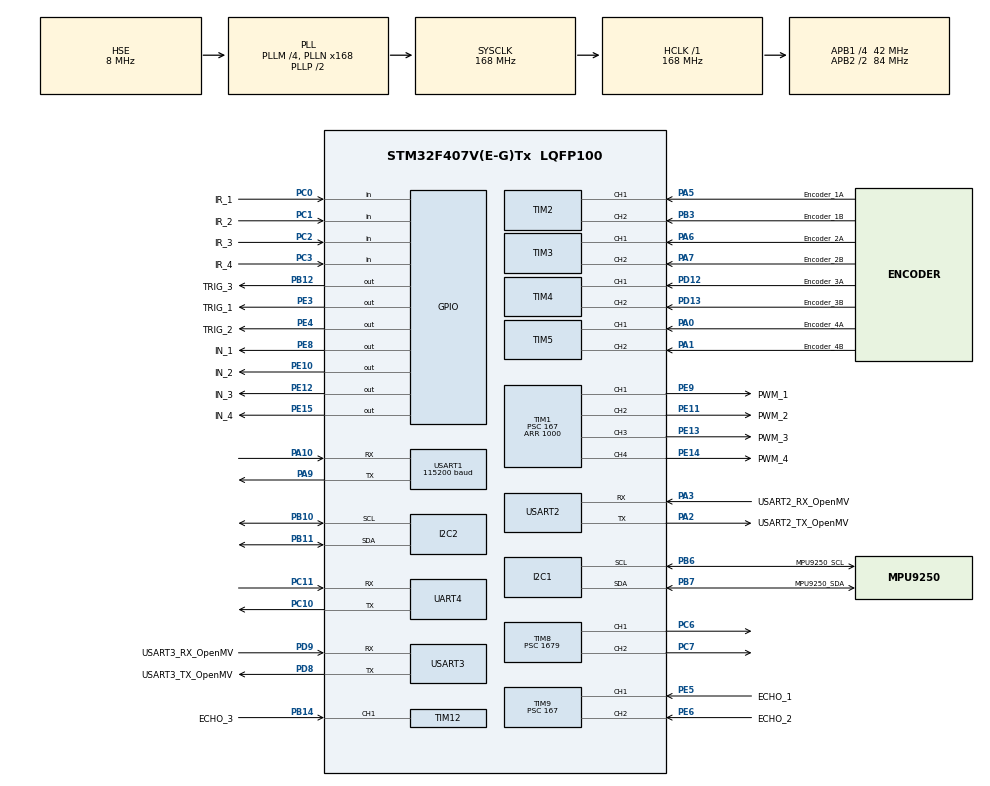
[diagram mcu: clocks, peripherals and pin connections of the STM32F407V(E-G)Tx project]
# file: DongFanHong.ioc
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I2C1.I2C_Mode=I2C_Fast
Mcu.Family=STM32F4
Mcu.Name=STM32F407V(E-G)Tx
Mcu.Package=LQFP100
NVIC.PriorityGroup=NVIC_PRIORITYGROUP_4
NVIC.TIM1_BRK_TIM9_IRQn=true\:0\:0\:false\:false\:true\:true\:true
NVIC.TIM8_BRK_TIM12_IRQn=true\:0\:0\:false\:false\:true\:true\:true
NVIC.UART4_IRQn=true\:0\:0\:false\:false\:true\:true\:true
NVIC.USART1_IRQn=true\:0\:0\:false\:false\:true\:true\:true
NVIC.USART2_IRQn=true\:0\:0\:false\:false\:true\:true\:true
NVIC.USART3_IRQn=true\:0\:0\:false\:false\:true\:true\:true
PA0-WKUP.GPIO_Label=Encoder_4A
PA0-WKUP.Signal=S_TIM5_CH1
PA1.GPIO_Label=Encoder_4B
PA1.Signal=S_TIM5_CH2
PA10.Mode=Asynchronous
PA10.Signal=USART1_RX
PA13.Mode=Serial_Wire
PA13.Signal=SYS_JTMS-SWDIO
PA14.Mode=Serial_Wire
PA14.Signal=SYS_JTCK-SWCLK
PA2.GPIO_Label=USART2_TX_OpenMV
PA2.Mode=Asynchronous
PA2.Signal=USART2_TX
PA3.GPIO_Label=USART2_RX_OpenMV
PA3.Mode=Asynchronous
PA3.Signal=USART2_RX
PA5.GPIO_Label=Encoder_1A
PA5.Signal=S_TIM2_CH1_ETR
PA6.GPIO_Label=Encoder_2A
PA6.Signal=S_TIM3_CH1
PA7.GPIO_Label=Encoder_2B
PA7.Signal=S_TIM3_CH2
PA9.Mode=Asynchronous
PA9.Signal=USART1_TX
PB10.Mode=I2C
PB10.Signal=I2C2_SCL
PB11.Mode=I2C
PB11.Signal=I2C2_SDA
PB12.GPIO_Label=TRIG_3
PB12.Signal=GPIO_Output
PB14.GPIO_Label=ECHO_3
PB14.GPIO_PuPd=GPIO_NOPULL
PB14.Signal=S_TIM12_CH1
PB3.GPIO_Label=Encoder_1B
PB3.Signal=S_TIM2_CH2
PB6.GPIO_Label=MPU9250_SCL
PB6.Mode=I2C
PB6.Signal=I2C1_SCL
PB7.GPIO_Label=MPU9250_SDA
PB7.Mode=I2C
PB7.Signal=I2C1_SDA
PC0.GPIO_Label=IR_1
PC0.GPIO_PuPd=GPIO_PULLDOWN
PC0.Signal=GPIO_Input
PC1.GPIO_Label=IR_2
PC1.GPIO_PuPd=GPIO_PULLDOWN
PC1.Signal=GPIO_Input
PC10.Mode=Asynchronous
PC10.Signal=UART4_TX
PC11.Mode=Asynchronous
PC11.Signal=UART4_RX
PC14-OSC32_IN.Mode=LSE-External-Oscillator
PC14-OSC32_IN.Signal=RCC_OSC32_IN
PC15-OSC32_OUT.Mode=LSE-External-Oscillator
PC15-OSC32_OUT.Signal=RCC_OSC32_OUT
PC2.GPIO_Label=IR_3
PC2.GPIO_PuPd=GPIO_PULLDOWN
PC2.Signal=GPIO_Input
PC3.GPIO_Label=IR_4
PC3.GPIO_PuPd=GPIO_PULLDOWN
PC3.Signal=GPIO_Input
PC6.Signal=S_TIM8_CH1
PC7.Signal=S_TIM8_CH2
PD12.GPIO_Label=Encoder_3A
PD12.Signal=S_TIM4_CH1
PD13.GPIO_Label=Encoder_3B
PD13.Signal=S_TIM4_CH2
PD8.GPIO_Label=USART3_TX_OpenMV
PD8.Mode=Asynchronous
PD8.Signal=USART3_TX
PD9.GPIO_Label=USART3_RX_OpenMV
PD9.Mode=Asynchronous
PD9.Signal=USART3_RX
PE10.GPIO_Label=IN_2
PE10.Signal=GPIO_Output
PE11.GPIO_Label=PWM_2
PE11.Signal=S_TIM1_CH2
PE12.GPIO_Label=IN_3
PE12.Signal=GPIO_Output
PE13.GPIO_Label=PWM_3
PE13.Signal=S_TIM1_CH3
PE14.GPIO_Label=PWM_4
PE14.Signal=S_TIM1_CH4
PE15.GPIO_Label=IN_4
PE15.Signal=GPIO_Output
PE3.GPIO_Label=TRIG_1
PE3.Signal=GPIO_Output
PE4.GPIO_Label=TRIG_2
PE4.Signal=GPIO_Output
PE5.GPIO_Label=ECHO_1
PE5.Signal=S_TIM9_CH1
PE6.GPIO_Label=ECHO_2
PE6.Signal=S_TIM9_CH2
PE8.GPIO_Label=IN_1
PE8.Signal=GPIO_Output
PE9.GPIO_Label=PWM_1
PE9.Signal=S_TIM1_CH1
PH0-OSC_IN.Mode=HSE-External-Oscillator
PH0-OSC_IN.Signal=RCC_OSC_IN
PH1-OSC_OUT.Mode=HSE-External-Oscillator
PH1-OSC_OUT.Signal=RCC_OSC_OUT
ProjectManager.HeapSize=0x200
ProjectManager.StackSize=0x400
ProjectManager.TargetToolchain=MDK-ARM V5.32
RCC.48MHZClocksFreq_Value=84000000
RCC.AHBFreq_Value=168000000
RCC.APB1CLKDivider=RCC_HCLK_DIV4
RCC.APB1Freq_Value=42000000
RCC.APB1TimFreq_Value=84000000
RCC.APB2CLKDivider=RCC_HCLK_DIV2
RCC.APB2Freq_Value=84000000
RCC.APB2TimFreq_Value=168000000
RCC.CortexFreq_Value=168000000
RCC.HCLKFreq_Value=168000000
RCC.HSE_VALUE=8000000
RCC.HSI_VALUE=16000000
RCC.PLLM=4
RCC.PLLN=168
RCC.PLLSourceVirtual=RCC_PLLSOURCE_HSE
RCC.SYSCLKFreq_VALUE=168000000
RCC.SYSCLKSource=RCC_SYSCLKSOURCE_PLLCLK
RCC.VCOOutputFreq_Value=336000000
SH.S_TIM12_CH1.0=TIM12_CH1,Input_Capture1_from_TI1
SH.S_TIM1_CH1.0=TIM1_CH1,PWM Generation1 CH1
SH.S_TIM1_CH2.0=TIM1_CH2,PWM Generation2 CH2
SH.S_TIM1_CH3.0=TIM1_CH3,PWM Generation3 CH3
SH.S_TIM1_CH4.0=TIM1_CH4,PWM Generation4 CH4
SH.S_TIM2_CH1_ETR.0=TIM2_CH1,Encoder_Interface
SH.S_TIM2_CH2.0=TIM2_CH2,Encoder_Interface
SH.S_TIM3_CH1.0=TIM3_CH1,Encoder_Interface
SH.S_TIM3_CH2.0=TIM3_CH2,Encoder_Interface
SH.S_TIM4_CH1.0=TIM4_CH1,Encoder_Interface
SH.S_TIM4_CH2.0=TIM4_CH2,Encoder_Interface
SH.S_TIM5_CH1.0=TIM5_CH1,Encoder_Interface
SH.S_TIM5_CH2.0=TIM5_CH2,Encoder_Interface
SH.S_TIM8_CH1.0=TIM8_CH1,PWM Generation1 CH1
SH.S_TIM8_CH2.0=TIM8_CH2,PWM Generation2 CH2
SH.S_TIM9_CH1.0=TIM9_CH1,Input_Capture1_from_TI1
SH.S_TIM9_CH2.0=TIM9_CH2,Input_Capture2_from_TI2
TIM1.Channel-PWM\ Generation1\ CH1=TIM_CHANNEL_1
TIM1.Channel-PWM\ Generation2\ CH2=TIM_CHANNEL_2
TIM1.Channel-PWM\ Generation3\ CH3=TIM_CHANNEL_3
TIM1.Channel-PWM\ Generation4\ CH4=TIM_CHANNEL_4
TIM1.Period=1000
TIM1.Prescaler=167
TIM12.Channel-Input_Capture1_from_TI1=TIM_CHANNEL_1
TIM12.Prescaler=167
TIM2.EncoderMode=TIM_ENCODERMODE_TI12
TIM3.EncoderMode=TIM_ENCODERMODE_TI12
TIM4.EncoderMode=TIM_ENCODERMODE_TI12
TIM5.EncoderMode=TIM_ENCODERMODE_TI12
TIM8.Channel-PWM\ Generation1\ CH1=TIM_CHANNEL_1
TIM8.Channel-PWM\ Generation2\ CH2=TIM_CHANNEL_2
TIM8.Period=1999
TIM8.Prescaler=1679
TIM9.Channel-Input_Capture1_from_TI1=TIM_CHANNEL_1
TIM9.Channel-Input_Capture2_from_TI2=TIM_CHANNEL_2
TIM9.Prescaler=167
UART4.VirtualMode=Asynchronous
USART1.BaudRate=115200
USART1.VirtualMode=VM_ASYNC
USART2.VirtualMode=VM_ASYNC
USART3.VirtualMode=VM_ASYNC
VP_TIM12_VS_ClockSourceINT.Mode=Internal
VP_TIM1_VS_ClockSourceINT.Mode=Internal
VP_TIM8_VS_ClockSourceINT.Mode=Internal
VP_TIM9_VS_ClockSourceINT.Mode=Internal
board=custom

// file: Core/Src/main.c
/* USER CODE BEGIN Header */
/**
  ******************************************************************************
  * @file           : main.c
  * @brief          : Main program body
  ******************************************************************************
  * @attention
  *
  * <h2><center>&copy; Copyright (c) 2022 STMicroelectronics.
  * All rights reserved.</center></h2>
  *
  * This software component is licensed by ST under BSD 3-Clause license,
  * the "License"; You may not use this file except in compliance with the
  * License. You may obtain a copy of the License at:
  *                        opensource.org/licenses/BSD-3-Clause
  *
  ******************************************************************************
  */
/* USER CODE END Header */
#include "main.h"
#include "i2c.h"
#include "tim.h"
#include "usart.h"
#include "gpio.h"

/* USER CODE BEGIN Includes */
#include "NiMing_UpperConputer.h"
#include "stdio.h"
#include "mpu9250.h"
#include "hc_sr04.h"
#include "encoder.h"
#include "motor.h"
#include "pid.h"
#include "control.h"
#include "string.h"
#include "go.h"

uint8_t Rx_String_1[100];    //接收字符串数组
uint8_t Rx_Flag_1=0;         //接收字符串计数uint8_t Rx_Flag_4=0;         //接收字符串计数
uint8_t Rx_buff_1;           //接收缓存
int OpenMV_data_0,OpenMV_data_1,OpenMV_data_2;

uint8_t Rx_String_4[100];    //接收字符串数组
uint8_t Rx_Flag_4=0;         //接收字符串计数uint8_t Rx_Flag_4=0;         //接收字符串计数
uint8_t Rx_buff_4;           //接收缓存
int number_block=0;

int missiom;
/* USER CODE END Includes */

void SystemClock_Config(void);

/* USER CODE BEGIN 0 */
int set_basic_speek;
int cnt=0;
int i=0;
int servo_vel;
/* USER CODE END 0 */

int main(void)
{

  /* MCU Configuration--------------------------------------------------------*/

  /* Reset of all peripherals, Initializes the Flash interface and the Systick. */
  HAL_Init();

  /* Configure the system clock */
  SystemClock_Config();

  /* Initialize all configured peripherals */
  MX_GPIO_Init();
  MX_USART1_UART_Init();
  MX_USART2_UART_Init();
  MX_USART3_UART_Init();
  MX_I2C1_Init();
  MX_I2C2_Init();
  MX_TIM9_Init();
  MX_TIM12_Init();
  MX_TIM2_Init();
  MX_TIM3_Init();
  MX_TIM4_Init();
  MX_TIM5_Init();
  MX_TIM1_Init();
  MX_TIM8_Init();
  MX_UART4_Init();
  /* USER CODE BEGIN 2 */

HcSr04_TIM_start();
MPU_Init();
HAL_Delay(3000);
Encoder_Init();
motor_Init();
PID_Init();
HAL_GPIO_WritePin(IR_1_GPIO_Port, IR_1_Pin,GPIO_PIN_RESET);
HAL_GPIO_WritePin(IR_2_GPIO_Port, IR_2_Pin,GPIO_PIN_RESET);

HAL_UART_Receive_IT(&huart3, (uint8_t *)&Rx_buff_1, 1);   //开启接收中断
HAL_UART_Receive_IT(&huart4, (uint8_t *)&Rx_buff_4, 1);

HAL_TIM_PWM_Start(&htim8,TIM_CHANNEL_1);
HAL_TIM_PWM_Start(&htim8,TIM_CHANNEL_2);

HAL_Delay(1000);
start_flag=1;
  /* USER CODE END 2 */

  /* Infinite loop */
  /* USER CODE BEGIN WHILE */

//dis_target=3000;
//keep_dis_1_flag=1;
//yaw_set=yaw;
//keep_yaw_flag=1;
//move_flag=1;

///////////////////////////////////////////////////////////////////////////////////////////////////////////////////

//number_block=12;
while(!number_block){HAL_Delay(1);}

step=0;

NO=0;
step=0;
yaw_set=yaw;
keep_yaw_flag=1;
move_flag=1;

NO=number_block-1;

set_servo_1(45);

missiom=1;

while(step_groug_go[NO][step]!=0)
{
	missiom=2;

	dis_=0;
	dis_target=step_groug_go[NO][step]*10;
	keep_dis_1_flag=1;

	while(cnt<20){
	while((dis-dis_target<-30)||(dis-dis_target>30)){HAL_Delay(1);}
	HAL_Delay(4);cnt++;
	}cnt=0;
	step++;

	yaw_set+=step_groug_go[NO][step];
	while(cnt<20){
	while((yaw_set-yaw<-3)||(yaw_set-yaw>3)){HAL_Delay(1);}
	HAL_Delay(4);cnt++;
	}cnt=0;
	step++;

}

missiom=3;

servo_flag=1;
set_servo_1(45);

for(i=45;i<135;i++)
{
	servo_vel=i;
	HAL_Delay(50);
}

missiom=4;

step=0;
while(step_groug_back[NO][step]!=0)
{

	missiom=5;

	dis_=0;
	dis_target=step_groug_back[NO][step]*10;
	keep_dis_1_flag=1;

	while(cnt<20){
	while((dis-dis_target<-30)||(dis-dis_target>30)){HAL_Delay(1);}
	HAL_Delay(4);cnt++;
	}cnt=0;
	step++;

	yaw_set+=step_groug_back[NO][step];
	while(cnt<20){
	while((yaw_set-yaw<-3)||(yaw_set-yaw>3)){HAL_Delay(1);}
	HAL_Delay(4);cnt++;
	}cnt=0;
	step++;
}
missiom=6;
/////////////////////////////////////////////////////////////////////////////////////////////////////////////////

  while (1)
  {
		cnt++;
		HAL_Delay (500);
		set_servo_1(90);
		HAL_Delay (500);
		set_servo_1(90);
    /* USER CODE END WHILE */

  }
}

void SystemClock_Config(void)
{
  RCC_OscInitTypeDef RCC_OscInitStruct = {0};
  RCC_ClkInitTypeDef RCC_ClkInitStruct = {0};

  /** Configure the main internal regulator output voltage
  */
  __HAL_RCC_PWR_CLK_ENABLE();
  __HAL_PWR_VOLTAGESCALING_CONFIG(PWR_REGULATOR_VOLTAGE_SCALE1);
  /** Initializes the RCC Oscillators according to the specified parameters
  * in the RCC_OscInitTypeDef structure.
  */
  RCC_OscInitStruct.OscillatorType = RCC_OSCILLATORTYPE_HSE;
  RCC_OscInitStruct.HSEState = RCC_HSE_ON;
  RCC_OscInitStruct.PLL.PLLState = RCC_PLL_ON;
  RCC_OscInitStruct.PLL.PLLSource = RCC_PLLSOURCE_HSE;
  RCC_OscInitStruct.PLL.PLLM = 4;
  RCC_OscInitStruct.PLL.PLLN = 168;
  RCC_OscInitStruct.PLL.PLLP = RCC_PLLP_DIV2;
  RCC_OscInitStruct.PLL.PLLQ = 4;
  if (HAL_RCC_OscConfig(&RCC_OscInitStruct) != HAL_OK)
  {
    Error_Handler();
  }
  /** Initializes the CPU, AHB and APB buses clocks
  */
  RCC_ClkInitStruct.ClockType = RCC_CLOCKTYPE_HCLK|RCC_CLOCKTYPE_SYSCLK
                              |RCC_CLOCKTYPE_PCLK1|RCC_CLOCKTYPE_PCLK2;
  RCC_ClkInitStruct.SYSCLKSource = RCC_SYSCLKSOURCE_PLLCLK;
  RCC_ClkInitStruct.AHBCLKDivider = RCC_SYSCLK_DIV1;
  RCC_ClkInitStruct.APB1CLKDivider = RCC_HCLK_DIV4;
  RCC_ClkInitStruct.APB2CLKDivider = RCC_HCLK_DIV2;

  if (HAL_RCC_ClockConfig(&RCC_ClkInitStruct, FLASH_LATENCY_5) != HAL_OK)
  {
    Error_Handler();
  }
}

/* USER CODE BEGIN 4 */

void set_servo_1(int vel)
{
	int pwm;
	pwm = vel/0.9+50;
	__HAL_TIM_SetCompare(&htim8, TIM_CHANNEL_1, pwm);
}

void set_servo_2(int vel)
{
	int pwm;
	pwm = vel/0.9+50;
	__HAL_TIM_SetCompare(&htim8, TIM_CHANNEL_2, pwm);
}

void HAL_UART_RxCpltCallback(UART_HandleTypeDef *huart)                                          //中断回调函数
{
		/*
		摄像头回传数据：x，y，0X0A
	*/

		if(huart == &huart3)
		{
			Rx_String_1[Rx_Flag_1++] = Rx_buff_1;  //接收字符
			if(Rx_String_1[Rx_Flag_1-1] == 0x0A) //判断是否接收结束
			{
				OpenMV_data_0 = Rx_String_1[0];
				OpenMV_data_1 = Rx_String_1[1];
				OpenMV_data_2 = Rx_String_1[2];
				memset(Rx_String_1,0x00,sizeof(Rx_buff_1)); //清空接收字符串
				Rx_Flag_1 = 0; //清空计数器
			}
		HAL_UART_Receive_IT(&huart3, (uint8_t *)&Rx_buff_1, 1);   //再开启接收中断
		}

				if(huart == &huart4)
		{
			Rx_String_4[Rx_Flag_4++] = Rx_buff_4;  //接收字符
			if(Rx_String_4[Rx_Flag_4-1] == 0x0A) //判断是否接收结束
			{
				if(Rx_String_4[1]==3)number_block = Rx_String_4[0];
				else number_block=0;
				memset(Rx_String_4,0x00,sizeof(Rx_buff_4)); //清空接收字符串
				Rx_Flag_4 = 0; //清空计数器
			}
		HAL_UART_Receive_IT(&huart4, (uint8_t *)&Rx_buff_4, 1);   //再开启接收中断
		}

		}

/* USER CODE END 4 */

void Error_Handler(void)
{
  /* USER CODE BEGIN Error_Handler_Debug */
  /* User can add his own implementation to report the HAL error return state */
  __disable_irq();
//  while (1)
//  {
//  }
  /* USER CODE END Error_Handler_Debug */
}

/************************ (C) COPYRIGHT STMicroelectronics *****END OF FILE****/
